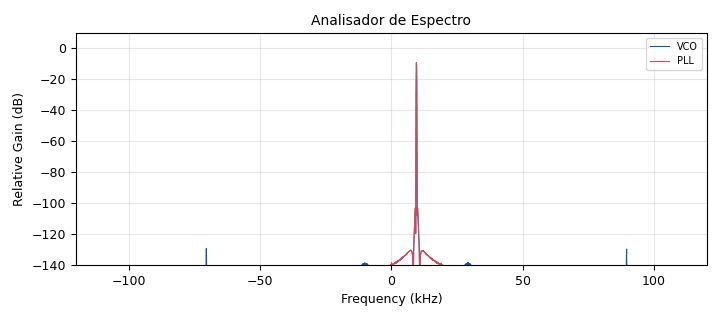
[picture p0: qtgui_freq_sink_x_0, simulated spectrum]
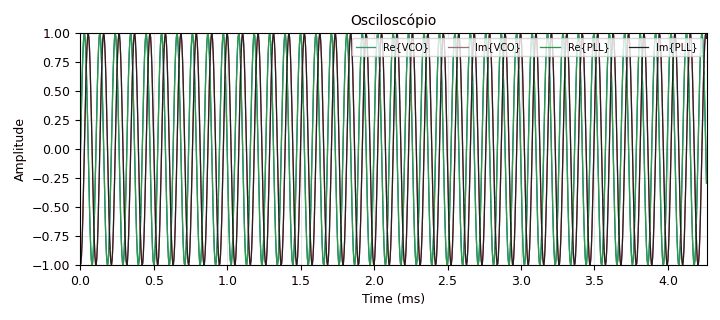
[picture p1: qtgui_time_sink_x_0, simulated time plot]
options:
  parameters:
    author: pedro
    generate_options: qt_gui
    id: m180108140_Exp04_AR01
    output_language: python
    title: AR01
  states: {}

blocks:
- name: Am
  id: variable_qtgui_range
  parameters:
    gui_hint: (7,1,1,1)
    orient: Qt.Horizontal
    start: '0'
    step: '0.5'
    stop: '10'
    value: '1'
  states: {}
- name: fc
  id: variable_qtgui_range
  parameters:
    gui_hint: (7,4,1,1)
    orient: Qt.Horizontal
    start: '8000'
    step: '100'
    stop: '12000'
    value: '10000'
  states: {}
- name: fm
  id: variable_qtgui_range
  parameters:
    gui_hint: (7,3,1,1)
    orient: Qt.Horizontal
    start: '0'
    step: '0.01'
    stop: '1'
    value: '0.05'
  states: {}
- name: fΔ
  id: variable_qtgui_range
  parameters:
    gui_hint: (7,2,1,1)
    orient: Qt.Horizontal
    start: '500'
    step: '100'
    stop: '2000'
    value: '500'
  states: {}
- name: pi
  id: variable
  parameters:
    value: '3.141592654'
  states: {}
- name: samp_rate
  id: variable
  parameters:
    value: '240000'
  states: {}
- name: analog_pll_refout_cc_0
  id: analog_pll_refout_cc
  parameters:
    max_freq: 2*pi*((10000+fΔ)/samp_rate)
    min_freq: 2*pi*((10000-fΔ)/samp_rate)
    w: pi/50
  states: {}
- name: analog_sig_source_x_0
  id: analog_sig_source_x
  parameters:
    amp: 2*Am
    freq: fm
    offset: '-Am'
    phase: '0'
    samp_rate: samp_rate
    type: float
    waveform: analog.GR_SIN_WAVE
  states: {}
- name: analog_sig_source_x_0_0
  id: analog_sig_source_x
  parameters:
    amp: '1'
    freq: fc
    offset: '0'
    phase: '0'
    samp_rate: samp_rate
    type: complex
    waveform: analog.GR_COS_WAVE
  states: {}
- name: blocks_multiply_xx_0
  id: blocks_multiply_xx
  parameters:
    type: complex
  states: {}
- name: blocks_throttle_0
  id: blocks_throttle
  parameters:
    samples_per_second: samp_rate
    type: float
  states: {}
- name: blocks_throttle_0_0
  id: blocks_throttle
  parameters:
    samples_per_second: samp_rate
    type: complex
  states: {}
- name: blocks_vco_c_0
  id: blocks_vco_c
  parameters:
    amplitude: '1'
    samp_rate: samp_rate
    sensitivity: 2000*pi
  states: {}
- name: qtgui_freq_sink_x_0
  id: qtgui_freq_sink_x
  parameters:
    bw: samp_rate
    ctrlpanel: 'True'
    fc: '0'
    fftsize: '4096'
    grid: 'True'
    gui_hint: (1,3,6,2)
    label1: VCO
    label2: PLL
    name: Analisador de Espectro
    nconnections: '2'
    tr_mode: qtgui.TRIG_MODE_AUTO
    type: complex
    wintype: firdes.WIN_BLACKMAN_hARRIS
  states: {}
- name: qtgui_time_sink_x_0
  id: qtgui_time_sink_x
  parameters:
    ctrlpanel: 'True'
    grid: 'True'
    gui_hint: (1,1,6,2)
    label1: Re{VCO}
    label2: Im{VCO}
    label3: Re{PLL}
    label4: Im{PLL}
    name: Osciloscópio
    nconnections: '2'
    size: '1024'
    srate: samp_rate
    tr_mode: qtgui.TRIG_MODE_AUTO
    type: complex
    yunit: V
  states: {}

connections:
- [analog_pll_refout_cc_0, '0', qtgui_freq_sink_x_0, '1']
- [analog_pll_refout_cc_0, '0', qtgui_time_sink_x_0, '1']
- [analog_sig_source_x_0, '0', blocks_throttle_0, '0']
- [analog_sig_source_x_0_0, '0', blocks_throttle_0_0, '0']
- [blocks_multiply_xx_0, '0', analog_pll_refout_cc_0, '0']
- [blocks_multiply_xx_0, '0', qtgui_freq_sink_x_0, '0']
- [blocks_multiply_xx_0, '0', qtgui_time_sink_x_0, '0']
- [blocks_throttle_0, '0', blocks_vco_c_0, '0']
- [blocks_throttle_0_0, '0', blocks_multiply_xx_0, '1']
- [blocks_vco_c_0, '0', blocks_multiply_xx_0, '0']

metadata:
  file_format: 1
